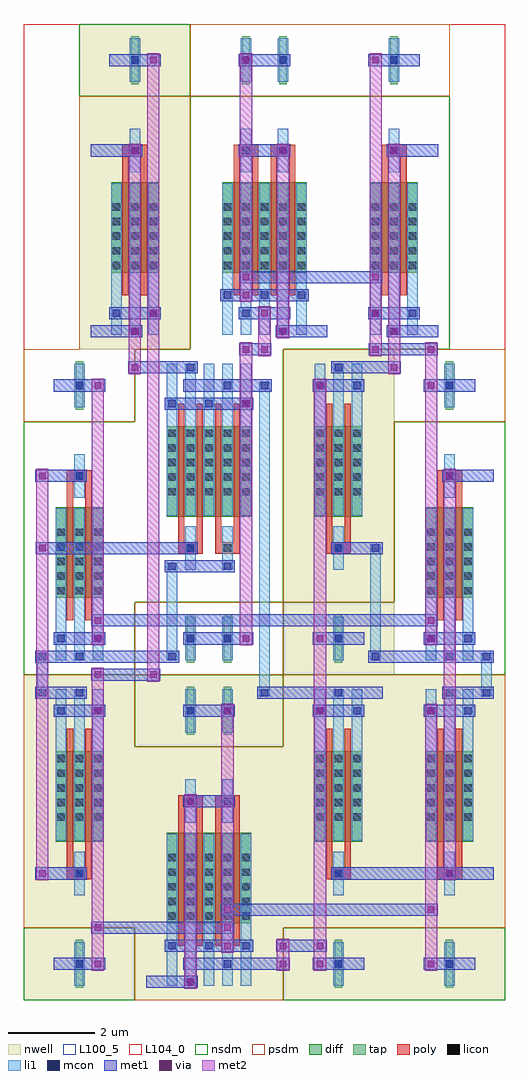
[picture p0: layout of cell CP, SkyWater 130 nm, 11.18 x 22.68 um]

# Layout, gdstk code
import gdstk
lib = gdstk.Library(unit=1e-6, precision=1e-09)
def R(c, l, rs):  # rectangles x0, y0, x1, y1
    for r in rs: c.add(gdstk.rectangle(r[:2], r[2:], *l))
def A(c, l, x, y, w, h, nx, ny, dx, dy):  # array of equal rectangles
    R(c, l, [(x+i*dx, y+j*dy, x+i*dx+w, y+j*dy+h) for i in range(nx) for j in range(ny)])
nwell = (64, 20)
diff = (65, 20)
tap = (65, 44)
poly = (66, 20)
licon = (66, 44)
li1 = (67, 20)
mcon = (67, 44)
met1 = (68, 20)
via = (68, 44)
met2 = (69, 20)
nsdm = (93, 44)
psdm = (94, 20)
L100_5 = (100, 5)
L104_0 = (104, 0)

c_cp = lib.new_cell('CP')
R(c_cp, nwell, [(0,0,2.58,7.56), (2.58,0,6.02,7.56), (6.02,0,8.6,7.56), (8.6,0,11.18,7.56), (6.02,7.56,8.6,15.12), (1.29,15.12,3.87,22.68)])
R(c_cp, diff, [(3.315,1.785,5.285,3.885), (0.735,3.675,1.845,5.775), (6.755,3.675,7.865,5.775), (9.335,3.675,10.445,5.775), (0.735,9.345,1.845,11.445), (9.335,9.345,10.445,11.445), (3.315,11.235,5.285,13.335), (6.755,11.235,7.865,13.335), (2.025,16.905,3.135,19.005), (4.605,16.905,6.575,19.005), (8.045,16.905,9.155,19.005)])
R(c_cp, tap, [(1.205,0.28,1.375,1.4), (7.225,0.28,7.395,1.4), (9.805,0.28,9.975,1.4), (3.785,6.16,3.955,7.28), (4.645,6.16,4.815,7.28), (3.785,7.84,3.955,8.96), (4.645,7.84,4.815,8.96), (7.225,7.84,7.395,8.96), (1.205,13.72,1.375,14.84), (9.805,13.72,9.975,14.84), (2.495,21.28,2.665,22.4), (5.075,21.28,5.245,22.4), (5.935,21.28,6.105,22.4), (8.515,21.28,8.685,22.4)])
A(c_cp, poly, 3.58, 1.26, 0.15, 3.36, 4, 2, 0.43, 9.24)
A(c_cp, poly, 4.87, 16.38, 0.15, 3.36, 4, 1, 0.43, 0)
R(c_cp, poly, [(1,2.805,1.58,3.075), (7.02,2.805,7.6,3.075), (9.6,2.805,10.18,3.075), (1,2.94,1.15,6.3), (1.43,2.94,1.58,6.3), (7.02,2.94,7.17,6.3), (7.45,2.94,7.6,6.3), (9.6,2.94,9.75,6.3), (10.03,2.94,10.18,6.3), (3.58,4.485,4.16,4.755), (4.44,4.485,5.02,4.755), (1,8.82,1.15,12.18), (1.43,8.82,1.58,12.18), (9.6,8.82,9.75,12.18), (10.03,8.82,10.18,12.18), (3.58,10.365,4.16,10.635), (4.44,10.365,5.02,10.635), (7.02,10.365,7.6,10.635), (7.02,10.5,7.17,13.86), (7.45,10.5,7.6,13.86), (1,12.045,1.58,12.315), (9.6,12.045,10.18,12.315), (2.29,16.38,2.44,19.74), (2.72,16.38,2.87,19.74), (8.31,16.38,8.46,19.74), (8.74,16.38,8.89,19.74), (2.29,19.605,2.87,19.875), (4.87,19.605,5.45,19.875), (5.73,19.605,6.31,19.875), (8.31,19.605,8.89,19.875)])
A(c_cp, licon, 3.355, 1.865, 0.17, 0.17, 3, 5, 0.43, 0.34)
A(c_cp, licon, 4.215, 1.865, 0.17, 0.17, 3, 5, 0.43, 0.34)
A(c_cp, licon, 0.775, 4.165, 0.17, 0.17, 3, 5, 0.43, 0.34)
A(c_cp, licon, 6.795, 4.165, 0.17, 0.17, 3, 5, 0.43, 0.34)
A(c_cp, licon, 9.375, 4.165, 0.17, 0.17, 3, 5, 0.43, 0.34)
A(c_cp, licon, 0.775, 9.425, 0.17, 0.17, 3, 5, 0.43, 0.34)
A(c_cp, licon, 9.375, 9.425, 0.17, 0.17, 3, 5, 0.43, 0.34)
A(c_cp, licon, 3.355, 11.725, 0.17, 0.17, 3, 5, 0.43, 0.34)
A(c_cp, licon, 4.215, 11.725, 0.17, 0.17, 3, 5, 0.43, 0.34)
A(c_cp, licon, 6.795, 11.725, 0.17, 0.17, 3, 5, 0.43, 0.34)
A(c_cp, licon, 2.065, 16.985, 0.17, 0.17, 3, 5, 0.43, 0.34)
A(c_cp, licon, 4.645, 16.985, 0.17, 0.17, 3, 5, 0.43, 0.34)
A(c_cp, licon, 5.505, 16.985, 0.17, 0.17, 3, 5, 0.43, 0.34)
A(c_cp, licon, 8.085, 16.985, 0.17, 0.17, 3, 5, 0.43, 0.34)
R(c_cp, licon, [(1.205,0.755,1.375,0.925), (7.225,0.755,7.395,0.925), (9.805,0.755,9.975,0.925), (1.205,2.855,1.375,3.025), (7.225,2.855,7.395,3.025), (9.805,2.855,9.975,3.025), (3.785,4.535,3.955,4.705), (4.645,4.535,4.815,4.705), (3.785,6.635,3.955,6.805), (4.645,6.635,4.815,6.805), (3.785,8.315,3.955,8.485), (4.645,8.315,4.815,8.485), (7.225,8.315,7.395,8.485), (3.785,10.415,3.955,10.585), (4.645,10.415,4.815,10.585), (7.225,10.415,7.395,10.585), (1.205,12.095,1.375,12.265), (9.805,12.095,9.975,12.265), (1.205,14.195,1.375,14.365), (9.805,14.195,9.975,14.365), (2.495,19.655,2.665,19.825), (5.075,19.655,5.245,19.825), (5.935,19.655,6.105,19.825), (8.515,19.655,8.685,19.825), (2.495,21.755,2.665,21.925), (5.075,21.755,5.245,21.925), (5.935,21.755,6.105,21.925), (8.515,21.755,8.685,21.925)])
A(c_cp, li1, 3.315, 0.335, 0.25, 3.53, 5, 2, 0.43, 10.92)
A(c_cp, li1, 0.735, 3.695, 0.25, 3.53, 3, 2, 0.43, 4.2)
A(c_cp, li1, 6.755, 3.695, 0.25, 3.53, 3, 2, 0.43, 7.56)
A(c_cp, li1, 9.335, 3.695, 0.25, 3.53, 3, 2, 0.43, 4.2)
A(c_cp, li1, 2.025, 15.455, 0.25, 3.53, 3, 1, 0.43, 0)
A(c_cp, li1, 4.605, 15.455, 0.25, 3.53, 5, 1, 0.43, 0)
A(c_cp, li1, 8.045, 15.455, 0.25, 3.53, 3, 1, 0.43, 0)
R(c_cp, li1, [(1.165,0.335,1.415,1.345), (7.185,0.335,7.435,1.345), (9.765,0.335,10.015,1.345), (1.165,2.435,1.415,3.445), (7.185,2.435,7.435,3.445), (9.765,2.435,10.015,3.445), (3.745,4.115,3.995,5.125), (4.605,4.115,4.855,5.125), (3.745,6.215,3.995,7.225), (4.605,6.215,4.855,7.225), (0.305,7.055,0.555,8.065), (5.465,7.055,5.715,14.365), (10.625,7.055,10.875,8.065), (3.315,7.895,3.565,10.165), (3.745,7.895,3.995,8.905), (4.605,7.895,4.855,8.905), (7.185,7.895,7.435,8.905), (8.045,7.895,8.295,10.585), (3.745,9.995,3.995,11.005), (4.605,9.995,4.855,11.005), (7.185,9.995,7.435,11.005), (1.165,11.675,1.415,12.685), (9.765,11.675,10.015,12.685), (1.165,13.775,1.415,14.785), (9.765,13.775,10.015,14.785), (2.455,19.235,2.705,20.245), (5.035,19.235,5.285,20.245), (5.895,19.235,6.145,20.245), (8.475,19.235,8.725,20.245), (2.455,21.335,2.705,22.345), (5.035,21.335,5.285,22.345), (5.895,21.335,6.145,22.345), (8.475,21.335,8.725,22.345)])
A(c_cp, mcon, 4.645, 0.755, 0.17, 0.17, 3, 1, 2.58, 0)
A(c_cp, mcon, 3.355, 1.175, 0.17, 0.17, 3, 2, 0.86, 12.6)
A(c_cp, mcon, 4.645, 6.635, 0.17, 0.17, 1, 3, 0, 1.68)
A(c_cp, mcon, 4.645, 16.295, 0.17, 0.17, 3, 1, 0.86, 0)
R(c_cp, mcon, [(3.785,0.335,3.955,0.505), (1.205,0.755,1.375,0.925), (1.205,2.855,1.375,3.025), (7.225,2.855,7.395,3.025), (9.805,2.855,9.975,3.025), (3.785,4.535,3.955,4.705), (4.645,4.535,4.815,4.705), (0.775,6.635,0.945,6.805), (1.635,6.635,1.805,6.805), (3.785,6.635,3.955,6.805), (6.795,6.635,6.965,6.805), (7.655,6.635,7.825,6.805), (9.375,6.635,9.545,6.805), (10.235,6.635,10.405,6.805), (0.345,7.055,0.515,7.225), (1.205,7.055,1.375,7.225), (5.505,7.055,5.675,7.225), (7.225,7.055,7.395,7.225), (9.805,7.055,9.975,7.225), (10.665,7.055,10.835,7.225), (0.345,7.895,0.515,8.065), (1.205,7.895,1.375,8.065), (3.355,7.895,3.525,8.065), (8.085,7.895,8.255,8.065), (9.805,7.895,9.975,8.065), (10.665,7.895,10.835,8.065), (0.775,8.315,0.945,8.485), (1.635,8.315,1.805,8.485), (3.785,8.315,3.955,8.485), (7.225,8.315,7.395,8.485), (9.375,8.315,9.545,8.485), (10.235,8.315,10.405,8.485), (3.355,9.995,3.525,10.165), (3.785,10.415,3.955,10.585), (7.225,10.415,7.395,10.585), (8.085,10.415,8.255,10.585), (1.205,12.095,1.375,12.265), (9.805,12.095,9.975,12.265), (1.205,14.195,1.375,14.365), (4.645,14.195,4.815,14.365), (5.505,14.195,5.675,14.365), (6.795,14.195,6.965,14.365), (7.655,14.195,7.825,14.365), (9.805,14.195,9.975,14.365), (3.785,14.615,3.955,14.785), (7.225,14.615,7.395,14.785), (2.495,15.455,2.665,15.625), (5.935,15.455,6.105,15.625), (8.515,15.455,8.685,15.625), (2.065,15.875,2.235,16.045), (2.925,15.875,3.095,16.045), (5.075,15.875,5.245,16.045), (8.085,15.875,8.255,16.045), (8.945,15.875,9.115,16.045), (2.495,19.655,2.665,19.825), (5.075,19.655,5.245,19.825), (5.935,19.655,6.105,19.825), (8.515,19.655,8.685,19.825), (2.495,21.755,2.665,21.925), (5.075,21.755,5.245,21.925), (5.935,21.755,6.105,21.925), (8.515,21.755,8.685,21.925)])
A(c_cp, met1, 0.69, 6.58, 1.2, 0.28, 3, 1, 3.01, 0)
A(c_cp, met1, 1.98, 15.82, 1.2, 0.28, 3, 2, 3.01, 5.88)
A(c_cp, met1, 1.55, 19.6, 1.2, 0.28, 3, 1, 3.44, 0)
R(c_cp, met1, [(2.84,0.28,4.04,0.56), (0.69,0.7,1.89,0.98), (3.7,0.7,6.18,0.98), (6.71,0.7,7.91,0.98), (9.29,0.7,10.49,0.98), (3.27,1.12,5.33,1.4), (5.86,1.12,7.04,1.4), (1.56,1.54,4.89,1.82), (4.57,1.96,9.62,2.24), (0.26,2.8,1.46,3.08), (7.14,2.8,10.92,3.08), (3.7,4.48,4.9,4.76), (9.29,6.58,10.49,6.86), (0.26,7,1.46,7.28), (5.42,7,8.34,7.28), (9.72,7,10.92,7.28), (1.56,7.42,3.17,7.7), (0.26,7.84,3.61,8.12), (8,7.84,10.92,8.12), (0.69,8.26,1.89,8.54), (3.7,8.26,5.33,8.54), (6.71,8.26,7.91,8.54), (9.29,8.26,10.49,8.54), (1.56,8.68,9.62,8.96), (3.27,9.94,4.9,10.22), (0.27,10.36,4.04,10.64), (7.14,10.36,8.34,10.64), (0.26,12.04,1.46,12.32), (9.72,12.04,10.92,12.32), (3.27,13.72,5.33,14), (0.69,14.14,1.89,14.42), (3.7,14.14,5.76,14.42), (6.71,14.14,7.91,14.42), (9.29,14.14,10.49,14.42), (2.42,14.56,4.04,14.84), (7.14,14.56,8.76,14.84), (5,14.98,5.75,15.26), (8.01,14.98,9.62,15.26), (1.55,15.4,2.75,15.68), (5.85,15.4,7.05,15.68), (8.43,15.4,9.63,15.68), (4.56,16.24,6.62,16.52), (5,16.66,8.33,16.94)])
A(c_cp, via, 4.655, 1.185, 0.15, 0.15, 1, 3, 0, 0.42)
A(c_cp, via, 1.645, 6.645, 0.15, 0.15, 1, 3, 0, 0.84)
A(c_cp, via, 5.085, 13.785, 0.15, 0.15, 1, 3, 0, 1.26)
A(c_cp, via, 2.935, 15.885, 0.15, 0.15, 3, 1, 2.58, 0)
R(c_cp, via, [(3.795,0.345,3.945,0.495), (1.645,0.765,1.795,0.915), (5.945,0.765,6.095,0.915), (6.805,0.765,6.955,0.915), (9.385,0.765,9.535,0.915), (5.945,1.185,6.095,1.335), (6.805,1.185,6.955,1.335), (1.645,1.605,1.795,1.755), (9.385,2.025,9.535,2.175), (0.355,2.865,0.505,3.015), (9.815,2.865,9.965,3.015), (3.795,4.545,3.945,4.695), (4.655,6.645,4.805,6.795), (6.805,6.645,6.955,6.795), (9.385,6.645,9.535,6.795), (2.935,7.485,3.085,7.635), (5.085,8.325,5.235,8.475), (6.805,8.325,6.955,8.475), (9.385,8.325,9.535,8.475), (1.645,8.745,1.795,8.895), (9.385,8.745,9.535,8.895), (0.355,10.425,0.505,10.575), (0.355,12.105,0.505,12.255), (9.815,12.105,9.965,12.255), (1.645,14.205,1.795,14.355), (6.805,14.205,6.955,14.355), (9.385,14.205,9.535,14.355), (2.505,14.625,2.655,14.775), (8.525,14.625,8.675,14.775), (5.515,15.045,5.665,15.195), (8.095,15.045,8.245,15.195), (9.385,15.045,9.535,15.195), (2.505,15.465,2.655,15.615), (5.945,15.465,6.095,15.615), (8.525,15.465,8.675,15.615), (5.085,16.725,5.235,16.875), (8.095,16.725,8.245,16.875), (2.505,19.665,2.655,19.815), (5.945,19.665,6.095,19.815), (8.525,19.665,8.675,19.815), (2.935,21.765,3.085,21.915), (5.085,21.765,5.235,21.915), (8.095,21.765,8.245,21.915)])
R(c_cp, met2, [(3.73,0.26,4.01,4.78), (1.58,0.68,1.86,7.72), (5.88,0.68,6.16,1.42), (6.74,0.68,7.02,14.44), (9.32,0.68,9.6,6.88), (4.59,1.1,4.87,6.88), (0.29,2.78,0.57,12.34), (9.75,2.78,10.03,12.34), (2.87,7.4,3.15,22), (1.58,8.24,1.86,14.44), (5.02,8.24,5.3,15.28), (9.32,8.24,9.6,15.28), (2.44,14.54,2.72,19.9), (8.46,14.54,8.74,19.9), (5.45,14.96,5.73,16.12), (8.03,14.96,8.31,22), (5.88,15.38,6.16,19.9), (5.02,16.22,5.3,22)])
R(c_cp, nsdm, [(0,0,2.58,1.68), (6.02,0,8.6,1.68), (8.6,0,11.18,1.68), (2.58,5.88,6.02,7.56), (0,7.56,2.58,13.44), (6.02,7.56,8.6,9.24), (8.6,7.56,11.18,13.44), (2.58,9.24,6.02,15.12), (3.87,15.12,7.31,21), (7.31,15.12,9.89,21), (1.29,21,3.87,22.68)])
R(c_cp, psdm, [(2.58,0,6.02,5.88), (0,1.68,2.58,7.56), (6.02,1.68,8.6,7.56), (8.6,1.68,11.18,7.56), (2.58,7.56,6.02,9.24), (6.02,9.24,8.6,15.12), (0,13.44,2.58,15.12), (8.6,13.44,11.18,15.12), (1.29,15.12,3.87,21), (3.87,21,7.31,22.68), (7.31,21,9.89,22.68)])
R(c_cp, L100_5, [(0,0,11.18,22.68)])
R(c_cp, L104_0, [(0,0,11.18,22.68)])

lib.write_gds('CP.gds')
